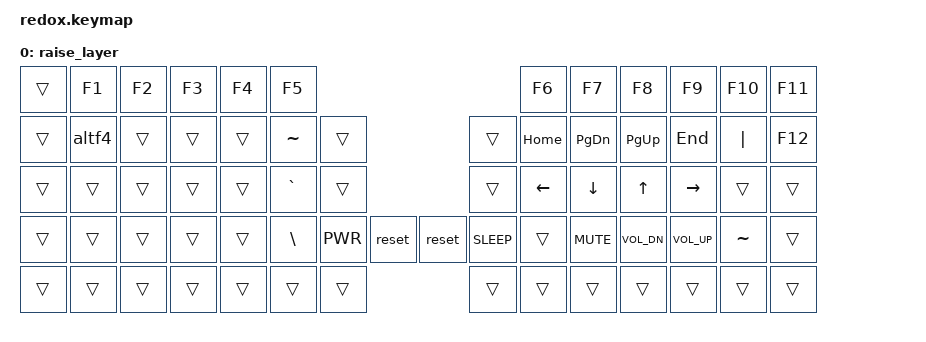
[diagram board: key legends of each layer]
/*
 * Copyright (c) 2021 The ZMK Contributors
 *
 * SPDX-License-Identifier: MIT
 */

#include <behaviors.dtsi>
#include <dt-bindings/zmk/keys.h>
#include <dt-bindings/zmk/bt.h>
#include <dt-bindings/zmk/ext_power.h>
#include <dt-bindings/zmk/outputs.h>

/ {
    macros {
        altf4: altf4 {
            label = "ALT_F4";
            compatible = "zmk,behavior-macro";
            #binding-cells = <0>;
            bindings
                = <&macro_press &kp LALT>
                , <&macro_tap &kp F4>
                , <&macro_release &kp LALT>
                ;
        };
    };

    keymap {
        compatible =  "zmk,keymap" ;

// --------------------------------------------------------------------------------------------------------------------------------
// | ESC(`)|  1  |  2  |   3   |  4  |  5  |                   ---                 |  6    |  7    |  8    |  9   | 0  |     -     |
// | TAB   |  Q  |  W  |   E   |  R  |  T  |   (   |           ---         |  )    |  Y    |  U    |  I    |  O   | P  |     =     |
// | CTRL  |  A  |  S  |   D   |  F  |  G  |   [   |           ---         |  ]    |  H    |  J    |  K    |  L   | ;  |     '     |
// | SHIFT |  Z  |  X  |   C   |  V  |  B  | PG_UP | PG_DOWN | --- | HOME  | END   |  N    |  M    |  ,    |  .   | /  | SHFT(RET) |
// | CRTL  | ALT | GUI | LOWER |    GUI    | BSPC  | L1(RET) | --- |L1(RET)| SPACE |     RAISE     | LEFT  | [    | ]  |   RIGHT   |
        raise_layer {
            bindings = <
   &gresc           &kp N1   &kp N2     &kp N3      &kp N4   &kp N5                                                  &kp N6    &kp N7    &kp N8    &kp N9      &kp N0      &kp MINUS
   &kp TAB          &kp Q    &kp W      &kp E       &kp R    &kp T     &kp LPAR                            &kp RPAR  &kp Y     &kp U     &kp I     &kp O       &kp P       &kp EQUAL
   &kp LCTRL        &kp A    &kp S      &kp D       &kp F    &kp G     &kp LBKT                            &kp RBKT  &kp H     &kp J     &kp K     &kp L       &kp SEMI    &kp SQT
   &mt LSHFT LPAR   &kp Z    &kp X      &kp C       &kp V    &kp B     &kp PG_UP &kp PG_DN     &kp HOME    &kp END   &kp N     &kp M     &kp COMMA &kp DOT     &kp FSLH    &mt RSHFT RPAR
   &kp LCTRL        &kp LALT &caps_word &kp PSCRN         &kp LGUI     &kp BSPC  &lt 1 RET     &lt 1 RET   &kp SPACE   &kp DEL           &kp RCTRL &kp PIPE    &kp TILDE   &kp BSLH 
            >;
        };

// --------------------------------------------------------------------------------------------------------------------------------
// | _      |  F1        | F2  |  F3   | F4  | F5  |                   ---                 |  F6   |  F7   |  F8   |  F9  | F10|     F11   |
// | _      |  ALT_F4    |  W  |   _   |  _  |  ~  |   _   |           ---         |  _    | HOME  | PG_DN | PG_UP | END  | |  |     F12   |
// | _      |  _         |  S  |   _   |  _  |  `  |   _   |           ---         |  _    |  LEFT |  DN   |  UP   | RIGHT| _  |     _     |
// | _      |  _         |  X  |   _   |  _  |  \  | POWER | RESET   | --- | RESET | SLEEP |   _   |  MUTE |  VDN  |  VUP | ~  |     _     |
// | _      |  _         |  _  |   _   |     _    |   _    |  _      | --- |   _   |   _   |       _       |  _    |  _   | _  |     _     |
        raise_layer {
            bindings = <
   &trans    &kp F1   &kp F2   &kp F3    &kp F4   &kp F5                                             &kp F6    &kp F7       &kp F8       &kp F9        &kp F10     &kp F11
   &trans    &altf4   &trans   &trans    &trans   &kp TILDE &trans                       &trans      &kp HOME  &kp PG_DN    &kp PG_UP    &kp END       &kp PIPE    &kp F12
   &trans    &trans   &trans   &trans    &trans   &kp GRAVE &trans                       &trans      &kp LEFT  &kp DOWN     &kp UP       &kp RIGHT     &trans      &trans
   &trans    &trans   &trans   &trans    &trans   &kp BSLH  &kp C_PWR &reset   &reset    &kp C_SLEEP &trans    &kp C_MUTE   &kp C_VOL_DN &kp C_VOL_UP  &kp TILDE   &trans
   &trans    &trans   &trans   &trans    &trans             &trans    &trans   &trans    &trans          &trans             &trans       &trans        &trans      &trans
            >;

        };

// --------------------------------------------------------------------------------------------------------------------------
// | ESC   |  1  |  2  |   3   |   4   |  5  |                   ---              |  6  |  7  |   8  |  9   |  0  |  DEL  |
// | ESC   |  1  |  2  |   3   |   4   |  5  |   (   |           ---        |  )  |  6  |  7  |   8  |  9   |  0  |  DEL  |
// | CTRL  |  -  |  =  |   [   |   ]   |  \  |   [   |           ---        |  ]  |  *  |  4  |   5  |  6   |  +  |   -   |
// | SHIFT | ESC | GUI | COPY  | PASTE |     | PG_UP | PG_DOWN | --- | HOME | END |  \  |  1  |   2  |  3   | RET |  RET  |
// | CRTL  | ALT | GUI | LOWER |     GUI     | LOWER | SPACE   | --- | DEL  |  0  |    RAISE  | LEFT | DOWN | UP  | RIGHT |
//        lower_layer {
//            bindings = <
//   &trans  &trans    &trans    &trans    &trans    &trans                                &trans          &trans    &trans    &trans    &trans      &trans
//   &kp ESC &kp N1    &kp N2    &kp N3    &kp N4    &kp N5    &trans               &trans &kp N6          &kp N7    &kp N8    &kp N9    &kp N0      &kp DEL
//   &trans  &kp MINUS &kp EQUAL &kp LBKT  &kp RBKT  &kp BSLH  &trans               &trans &kp KP_MULTIPLY &kp N4    &kp N5    &kp N6    &kp KP_PLUS &kp KP_MINUS
//   &trans  &kp ESC   &kp LGUI  &kp LG(C) &kp LG(V) &kp GRAVE &trans &trans &trans &trans &kp KP_DIVIDE   &kp N1    &kp N2    &kp N3    &kp RET     &kp RET
//   &trans  &trans    &trans    &trans          &trans        &trans &trans &trans &kp N0          &mo 3            &trans    &trans    &trans      &trans
//            >;
//        };

// ----------------------------------------------------------------------------------------------------------------------------
// | ESC   |  1  |  2  |   3   |  4  |  5  |                   ---                |  6   |  7   |  8   |  9   |  0    |  DEL  |
// | ESC   |  !  |  @  |   #   |  $  |  %  |   (   |           ---        |  )    |  ^   |  &   |  *   |  (   |  )    |  DEL  |
// | CTRL  |  _  |  +  |   {   |  }  | "|" |   [   |           ---        |  ]    | HOME | PGUP | PRSC | UP   |  `    |   ~   |
// | SHIFT | ESC | GUI |   (   |  )  |     | PG_UP | PG_DOWN | --- | HOME | END   | END  | PGDN | LEFT | DOWN | RIGHT |  RET  |
// | CRTL  | ALT | GUI | LOWER |    GUI    | LOWER | SPACE   | --- | DEL  | SPACE |    RAISE    | LEFT | DOWN | UP    | RIGHT |
//        raise_layer {
//            bindings = <
//   &trans  &trans    &trans   &trans   &trans   &trans                                &trans    &trans    &trans    &trans   &trans    &trans
//   &kp ESC &kp EXCL  &kp AT   &kp HASH &kp DLLR &kp PRCNT &trans               &trans &kp CARET &kp AMPS  &kp ASTRK &kp LPAR &kp RPAR  &kp DEL
//   &trans  &kp UNDER &kp PLUS &kp LBRC &kp RBRC &kp PIPE  &trans               &trans &kp HOME  &kp PG_UP &kp PSCRN &kp UP   &kp GRAVE &kp TILDE
//   &trans  &kp ESC   &kp LGUI &kp LPAR &kp RPAR &kp TILDE &trans &trans &trans &trans &kp END   &kp PG_DN &kp LEFT  &kp DOWN &kp RIGHT &kp RET
//   &trans  &trans    &trans   &mo 3         &trans        &mo 3  &trans &trans &trans        &trans       &trans    &trans   &trans    &trans
//            >;
//        };

// -----------------------------------------------------------------------------------------
// |  F1   |  F2   |    F3    |    F4     |     F5     | F6 |                   ---                | F7  | F8  |  F9  |  F10 | F11 | F12        |
// | TAB   |       |          |           |            |    | BOOTL |           ---        |  )    | BT1 | BT2 |  BT3 |  BT4 | BT5 | OUTPUT TGL |
// | CTRL  | MUTE  |  Vol Dn  |  Vol Up   | Play/Pause |    | RESET |           ---        |  ]    | F1  | F2  |  F3  |  F4  | F5  | F6         |
// | SHIFT | PSCRN |  PSCRN   |   CAPS    |            |    | PG_UP | PG_DOWN | --- | HOME | END   | F7  | F8  |  F9  |  F10 | F11 | F12        |
// | CRTL  | ALT   |  GUI     |   LOWER   |      GUI        | LOWER | SPACE   | --- | DEL  | SPACE |   RAISE   | LEFT | DOWN | UP  |   RIGHT    |
//        adjust_layer {
//            bindings = <
//   &kp F1  &kp F2     &kp F3       &kp F4       &kp F5           &kp F6                                 &kp F7       &kp F8       &kp F9       &kp F10      &kp F11       &kp F12
//   &trans  &none      &none        &none        &none            &none  &bootloader          &bt BT_CLR &bt BT_SEL 0 &bt BT_SEL 1 &bt BT_SEL 2 &bt BT_SEL 3 &bt BT_SEL 4  &out OUT_TOG
//   &trans  &kp K_MUTE &kp C_VOL_DN &kp C_VOL_UP &kp C_PLAY_PAUSE &none  &reset               &trans     &kp F1       &kp F2       &kp F3       &kp F4       &kp F5        &kp F6
//   &trans  &kp PSCRN  &kp PSCRN    &kp CLCK     &none            &none  &trans &trans &trans &trans     &kp F7       &kp F8       &kp F9       &kp F10      &kp F11       &kp F12
//   &trans  &trans     &trans       &trans              &trans           &trans &trans &trans &trans          &trans           &trans       &trans       &trans        &trans
//            >;
//        };
    };
};
